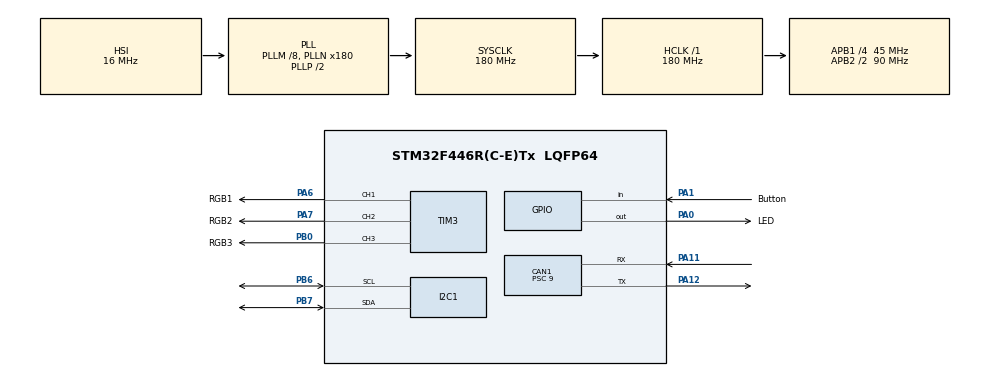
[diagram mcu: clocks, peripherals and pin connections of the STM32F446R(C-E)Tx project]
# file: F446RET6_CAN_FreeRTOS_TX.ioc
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CAN1.BS1=CAN_BS1_2TQ
CAN1.BS2=CAN_BS2_2TQ
CAN1.CalculateBaudRate=1000000
CAN1.CalculateTimeBit=1000
CAN1.CalculateTimeQuantum=200.0
CAN1.Prescaler=9
FREERTOS.Tasks01=IMU_BNO_055,48,512,Task_IMU_BNO_055,Default,NULL,Dynamic,NULL,NULL;RotaryEncoder,49,521,Task_RotaryEncoder,Default,NULL,Dynamic,NULL,NULL;LASER,50,512,Task_Laser,Default,NULL,Dynamic,NULL,NULL
I2C1.I2C_Mode=I2C_Fast
Mcu.Family=STM32F4
Mcu.Name=STM32F446R(C-E)Tx
Mcu.Package=LQFP64
NVIC.CAN1_RX0_IRQn=true\:5\:0\:false\:false\:true\:true\:true\:true\:true
NVIC.PriorityGroup=NVIC_PRIORITYGROUP_4
NVIC.TIM4_IRQn=true\:5\:0\:false\:false\:true\:true\:true\:true\:true
PA0-WKUP.GPIO_Label=LED
PA0-WKUP.Signal=GPIO_Output
PA1.GPIO_Label=Button
PA1.Signal=GPIO_Input
PA11.Mode=CAN_Activate
PA11.Signal=CAN1_RX
PA12.Mode=CAN_Activate
PA12.Signal=CAN1_TX
PA13.Mode=Serial_Wire
PA13.Signal=SYS_JTMS-SWDIO
PA14.Mode=Serial_Wire
PA14.Signal=SYS_JTCK-SWCLK
PA6.GPIO_Label=RGB1
PA6.Signal=S_TIM3_CH1
PA7.GPIO_Label=RGB2
PA7.Signal=S_TIM3_CH2
PB0.GPIO_Label=RGB3
PB0.Signal=S_TIM3_CH3
PB6.Mode=I2C
PB6.Signal=I2C1_SCL
PB7.Mode=I2C
PB7.Signal=I2C1_SDA
PH0-OSC_IN.Mode=HSE-External-Oscillator
PH0-OSC_IN.Signal=RCC_OSC_IN
PH1-OSC_OUT.Mode=HSE-External-Oscillator
PH1-OSC_OUT.Signal=RCC_OSC_OUT
ProjectManager.HeapSize=0x200
ProjectManager.StackSize=0x400
ProjectManager.TargetToolchain=STM32CubeIDE
RCC.AHBFreq_Value=180000000
RCC.APB1CLKDivider=RCC_HCLK_DIV4
RCC.APB1Freq_Value=45000000
RCC.APB1TimFreq_Value=90000000
RCC.APB2CLKDivider=RCC_HCLK_DIV2
RCC.APB2Freq_Value=90000000
RCC.APB2TimFreq_Value=180000000
RCC.CortexFreq_Value=180000000
RCC.HCLKFreq_Value=180000000
RCC.PLLM=8
RCC.PLLN=180
RCC.SYSCLKFreq_VALUE=180000000
RCC.SYSCLKSource=RCC_SYSCLKSOURCE_PLLCLK
RCC.USBFreq_Value=180000000
RCC.VCOOutputFreq_Value=360000000
SH.S_TIM3_CH1.0=TIM3_CH1,PWM Generation1 CH1
SH.S_TIM3_CH2.0=TIM3_CH2,PWM Generation2 CH2
SH.S_TIM3_CH3.0=TIM3_CH3,PWM Generation3 CH3
TIM3.AutoReloadPreload=TIM_AUTORELOAD_PRELOAD_ENABLE
TIM3.Channel-PWM\ Generation1\ CH1=TIM_CHANNEL_1
TIM3.Channel-PWM\ Generation2\ CH2=TIM_CHANNEL_2
TIM3.Channel-PWM\ Generation3\ CH3=TIM_CHANNEL_3
TIM4.AutoReloadPreload=TIM_AUTORELOAD_PRELOAD_ENABLE
TIM4.Period=9999
TIM4.Prescaler=89
VP_FREERTOS_VS_CMSIS_V2.Mode=CMSIS_V2
VP_TIM4_VS_ClockSourceINT.Mode=Internal
board=custom

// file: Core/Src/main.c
/* USER CODE BEGIN Header */
/**
  ******************************************************************************
  * @file           : main.c
  * @brief          : Main program body
  ******************************************************************************
  * @attention
  *
  * Copyright (c) 2024 STMicroelectronics.
  * All rights reserved.
  *
  * This software is licensed under terms that can be found in the LICENSE file
  * in the root directory of this software component.
  * If no LICENSE file comes with this software, it is provided AS-IS.
  *
  ******************************************************************************
  */
/* USER CODE END Header */
#include "main.h"
#include "cmsis_os.h"
#include "can.h"
#include "i2c.h"
#include "tim.h"
#include "gpio.h"

/* USER CODE BEGIN Includes */

//#include "bno055_stm32.h"
//#include "bno055.h"

/* USER CODE END Includes */

/* USER CODE BEGIN PTD */

	/* IMU BNO 055 */

//		/* EULER */
//
//			bno055_vector_t E;
//
//		/* QUATERNION */
//
//			bno055_vector_t Q;

/* USER CODE END PTD */

/* USER CODE BEGIN PV */

			/* CAN */

				CAN_RxHeaderTypeDef RxHeader;
				uint8_t RxData[8];
				CAN_TxHeaderTypeDef TxHeader;
				uint8_t TxData[8];
				uint32_t TxMailbox;
				uint16_t ReadValue;

				int datacheck = 0;
				float pwm_M1 = 0;
				float pwm_M2 = 0;

				float RxData1 = 0;
				float RxData2 = 0;
				float RxData3 = 0;
				float RxData4 = 0;

			/* TAGET SPEED OF RGB */

				float V1 = 0;
				float V2 = 0;
				float V3 = 0;
				float V4 = 0;

			/* V OUT RGB */

				uint16_t V1_out = 0;
				uint16_t V2_out = 0;
				uint16_t V3_out = 0;
				uint16_t V4_out = 0;

				uint8_t flag = 0;
				uint8_t cntt;
				uint8_t cnt;

//			/* EULER */
//
//				uint16_t heading = 0;
//				uint16_t pitch   = 0;
//				uint16_t roll    = 0;
//				uint16_t y =0;
//				uint16_t QuaX = 0;

				extern uint16_t heading;
				extern uint16_t pitch;
				extern uint16_t roll;
				extern uint16_t pitch;
				extern uint16_t QuaX;

/* USER CODE END PV */

void SystemClock_Config(void);
void MX_FREERTOS_Init(void);
/* USER CODE BEGIN PFP */

//	/* MAP */
//
//		float map(float Input, float Min_Input, float Max_Input, float Min_Output, float Max_Output) {
//			return (float) ((Input - Min_Input) * (Max_Output - Min_Output) / (Max_Input - Min_Input) + Min_Output);
//		}

	/* STM32 INTERUPP RECEIVER FROM USB CAN */

		void HAL_CAN_RxFifo0MsgPendingCallback(CAN_HandleTypeDef *hcan) {
			HAL_CAN_GetRxMessage(hcan, CAN_RX_FIFO0, &RxHeader, RxData);
			cntt++;
			while (cntt - 100 > 0) {
				HAL_GPIO_TogglePin(GPIOA, GPIO_PIN_0);
				cntt = 0;
			}

		/* TRANFER TO SPEED */

			/* V RGB */

				V1 = RxData1;
				V2 = RxData2;
				V3 = RxData3;
				V4 = RxData4;

				flag = 1;

		}

/* USER CODE END PFP */

int main(void)
{

  /* MCU Configuration--------------------------------------------------------*/

  /* Reset of all peripherals, Initializes the Flash interface and the Systick. */
  HAL_Init();

  /* Configure the system clock */
  SystemClock_Config();

  /* Initialize all configured peripherals */
  MX_GPIO_Init();
  MX_CAN1_Init();
  MX_TIM3_Init();
  MX_TIM4_Init();
  MX_I2C1_Init();
  /* USER CODE BEGIN 2 */

	/* CAN */

		HAL_CAN_Start(&hcan1);

	/* STRUCTUR TRANSMITTER DATA */

		HAL_CAN_ActivateNotification(&hcan1, CAN_IT_RX_FIFO0_MSG_PENDING);
		TxHeader.DLC = 8;
		TxHeader.IDE = CAN_ID_STD;
		TxHeader.RTR = CAN_RTR_DATA;
		TxHeader.StdId = 0x446; //0b11001010001

	/* TIMER RGB */

		HAL_TIM_Base_Start_IT(&htim4);

		HAL_TIM_PWM_Start(&htim3, TIM_CHANNEL_1);
		HAL_TIM_PWM_Start(&htim3, TIM_CHANNEL_2);
		HAL_TIM_PWM_Start(&htim3, TIM_CHANNEL_3);

	/* MAP TX DATA FROM 8BIT TO 16BIT (RGB) */

//		V1_out = map(V1,0,255,0,65535);
//		V2_out = map(V2,0,255,0,65535);
//		V3_out = map(V3,0,255,0,65535);
//		V4_out = map(V4,0,255,0,65535);

	 /* IMU BNO 055 */

//		bno055_assignI2C(&hi2c1);
//		bno055_setup();
//		bno055_setOperationModeNDOF();

  /* USER CODE END 2 */

  /* Init scheduler */
  osKernelInitialize();

  /* Call init function for freertos objects (in freertos.c) */
  MX_FREERTOS_Init();

  /* Start scheduler */
  osKernelStart();

  /* We should never get here as control is now taken by the scheduler */
  /* Infinite loop */
  while (1)
  {

    /* USER CODE BEGIN 3 */
//	  E	  = bno055_getVectorEuler();
//	  HAL_Delay(5);
//
//	  Q	  = bno055_getVectorEuler();
//	  HAL_Delay(5);

  }
  /* USER CODE END 3 */
}

void SystemClock_Config(void)
{
  RCC_OscInitTypeDef RCC_OscInitStruct = {0};
  RCC_ClkInitTypeDef RCC_ClkInitStruct = {0};

  /** Configure the main internal regulator output voltage
  */
  __HAL_RCC_PWR_CLK_ENABLE();
  __HAL_PWR_VOLTAGESCALING_CONFIG(PWR_REGULATOR_VOLTAGE_SCALE1);

  /** Initializes the RCC Oscillators according to the specified parameters
  * in the RCC_OscInitTypeDef structure.
  */
  RCC_OscInitStruct.OscillatorType = RCC_OSCILLATORTYPE_HSI;
  RCC_OscInitStruct.HSIState = RCC_HSI_ON;
  RCC_OscInitStruct.HSICalibrationValue = RCC_HSICALIBRATION_DEFAULT;
  RCC_OscInitStruct.PLL.PLLState = RCC_PLL_ON;
  RCC_OscInitStruct.PLL.PLLSource = RCC_PLLSOURCE_HSI;
  RCC_OscInitStruct.PLL.PLLM = 8;
  RCC_OscInitStruct.PLL.PLLN = 180;
  RCC_OscInitStruct.PLL.PLLP = RCC_PLLP_DIV2;
  RCC_OscInitStruct.PLL.PLLQ = 2;
  RCC_OscInitStruct.PLL.PLLR = 2;
  if (HAL_RCC_OscConfig(&RCC_OscInitStruct) != HAL_OK)
  {
    Error_Handler();
  }

  /** Activate the Over-Drive mode
  */
  if (HAL_PWREx_EnableOverDrive() != HAL_OK)
  {
    Error_Handler();
  }

  /** Initializes the CPU, AHB and APB buses clocks
  */
  RCC_ClkInitStruct.ClockType = RCC_CLOCKTYPE_HCLK|RCC_CLOCKTYPE_SYSCLK
                              |RCC_CLOCKTYPE_PCLK1|RCC_CLOCKTYPE_PCLK2;
  RCC_ClkInitStruct.SYSCLKSource = RCC_SYSCLKSOURCE_PLLCLK;
  RCC_ClkInitStruct.AHBCLKDivider = RCC_SYSCLK_DIV1;
  RCC_ClkInitStruct.APB1CLKDivider = RCC_HCLK_DIV4;
  RCC_ClkInitStruct.APB2CLKDivider = RCC_HCLK_DIV2;

  if (HAL_RCC_ClockConfig(&RCC_ClkInitStruct, FLASH_LATENCY_5) != HAL_OK)
  {
    Error_Handler();
  }
}

/* USER CODE BEGIN 4 */

/* MAKER TIMER INTERRUPP 1mS */

	void HAL_TIM_PeriodElapsedCallback(TIM_HandleTypeDef *htim) {
		if (htim->Instance == TIM4) {

			TIM3->CCR1 = V1; // PWM BLINK LED
			TIM3->CCR2 = V2; // PWM BLINK LED
			TIM3->CCR3 = V3; // PWM BLINK LED

			/* TX DATA SEND TO PC MAP 16BIT TO 8BIT COZ DATA CAN 1DATA=8BIT */

				/* EULER */

//				 	 E	  = bno055_getVectorEuler();
//
//				 /* QUATERNION */
//
//				 	 Q    = bno055_getVectorQuaternion();

				 /* MAP HEADING (Y) QUATERNION */

//					 if (E.y>0)
//					 {
//						 y = E.y;
//					 }
//					 else if (E.y<0)
//					 {
//						 y = 360-(-1*E.y);
//					 }
//
//				 /* EULER */
//
//					heading = map (E.x, 0, 360, 0, 65535);
//					pitch   = map (E.y, 0, 360, 0, 65535);
//					roll    = map (E.z, 0, 360, 0, 65535);
//
//				/* QUATERNION */
//
//					QuaX    = map (Q.x, 0, 360, 0, 65535);

				/* TxData SEND IMU EULER QUATERNION */

					TxData[0] = ((heading& 0xFF00) >> 8);
					TxData[1] = (heading& 0x00FF);
					TxData[2] = ((pitch& 0xFF00) >> 8);
					TxData[3] = (pitch& 0x00FF);
					TxData[4] = ((roll& 0xFF00) >> 8);
					TxData[5] = (roll& 0x00FF);
					TxData[6] = ((-20& 0xFF00) >> 8);
					TxData[7] = (-20& 0x00FF);

//					TxData[0] = ((V1_out & 0xFF00) >> 8);
//					TxData[1] = (V1_out & 0x00FF);
//					TxData[2] = ((V2_out & 0xFF00) >> 8);
//					TxData[3] = (V2_out & 0x00FF);
//					TxData[4] = ((V3_out & 0xFF00) >> 8);
//					TxData[5] = (V3_out & 0x00FF);
//					TxData[6] = ((V4_out & 0xFF00) >> 8);
//					TxData[7] = (V4_out & 0x00FF);

			if (!(HAL_GPIO_ReadPin(GPIOA, GPIO_PIN_1))) {
				HAL_GPIO_TogglePin(GPIOA, GPIO_PIN_0);
				HAL_CAN_AddTxMessage(&hcan1, &TxHeader, TxData, &TxMailbox);

			}
		}
	}

/* USER CODE END 4 */

void Error_Handler(void)
{
  __disable_irq();
  while (1)
  {
  }
}

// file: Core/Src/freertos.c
/* USER CODE BEGIN Header */
/**
  ******************************************************************************
  * File Name          : freertos.c
  * Description        : Code for freertos applications
  ******************************************************************************
  * @attention
  *
  * Copyright (c) 2024 STMicroelectronics.
  * All rights reserved.
  *
  * This software is licensed under terms that can be found in the LICENSE file
  * in the root directory of this software component.
  * If no LICENSE file comes with this software, it is provided AS-IS.
  *
  ******************************************************************************
  */
/* USER CODE END Header */

#include "FreeRTOS.h"
#include "task.h"
#include "main.h"
#include "cmsis_os.h"

/* USER CODE BEGIN Includes */

#include "bno055_stm32.h"
#include "bno055.h"

/* USER CODE END Includes */

/* USER CODE BEGIN PTD */

	/* IMU BNO 055 */

		/* EULER */

			bno055_vector_t E;

		/* QUATERNION */

			bno055_vector_t Q;

			uint16_t heading = 0;
			uint16_t pitch   = 0;
			uint16_t roll    = 0;
			uint16_t y =0;
			uint16_t QuaX = 0;

/* USER CODE END PTD */

/* Definitions for IMU_BNO_055 */
osThreadId_t IMU_BNO_055Handle;
const osThreadAttr_t IMU_BNO_055_attributes = {
  .name = "IMU_BNO_055",
  .stack_size = 512 * 4,
  .priority = (osPriority_t) osPriorityRealtime,
};
/* Definitions for RotaryEncoder */
osThreadId_t RotaryEncoderHandle;
const osThreadAttr_t RotaryEncoder_attributes = {
  .name = "RotaryEncoder",
  .stack_size = 521 * 4,
  .priority = (osPriority_t) osPriorityRealtime1,
};
/* Definitions for LASER */
osThreadId_t LASERHandle;
const osThreadAttr_t LASER_attributes = {
  .name = "LASER",
  .stack_size = 512 * 4,
  .priority = (osPriority_t) osPriorityRealtime2,
};

/* USER CODE BEGIN FunctionPrototypes */

/* MAP */

	float map(float Input, float Min_Input, float Max_Input, float Min_Output, float Max_Output) {
		return (float) ((Input - Min_Input) * (Max_Output - Min_Output) / (Max_Input - Min_Input) + Min_Output);
	}

/* USER CODE END FunctionPrototypes */

void Task_IMU_BNO_055(void *argument);
void Task_RotaryEncoder(void *argument);
void Task_Laser(void *argument);

void MX_FREERTOS_Init(void); /* (MISRA C 2004 rule 8.1) */

void MX_FREERTOS_Init(void) {

  /* Create the thread(s) */
  /* creation of IMU_BNO_055 */
  IMU_BNO_055Handle = osThreadNew(Task_IMU_BNO_055, NULL, &IMU_BNO_055_attributes);

  /* creation of RotaryEncoder */
  RotaryEncoderHandle = osThreadNew(Task_RotaryEncoder, NULL, &RotaryEncoder_attributes);

  /* creation of LASER */
  LASERHandle = osThreadNew(Task_Laser, NULL, &LASER_attributes);

}

void Task_IMU_BNO_055(void *argument)
{
  /* USER CODE BEGIN Task_IMU_BNO_055 */
  /* Infinite loop */

	/* EULER */

//		uint16_t heading = 0;
//		uint16_t pitch   = 0;
//		uint16_t roll    = 0;
//		uint16_t y =0;
//		uint16_t QuaX = 0;

   	/* IMU BNO 055 */

		  bno055_assignI2C(&hi2c1);
		  bno055_setup();
		  bno055_setOperationModeNDOF();

  for(;;)
  {
	  /* IMU BNO 055 */

			  if (E.y>0)
			  {
				  y = E.y;
			  }
			  else if (E.y<0)
			  {
				  y = 360-(-1*E.y);
			  }

		  /* EULER */

			  heading = map (E.x, 0, 360, 0, 65535);
			  pitch   = map (E.y, 0, 360, 0, 65535);
			  roll    = map (E.z, 0, 360, 0, 65535);

		  /* QUATERNION */

			  QuaX    = map (Q.x, 0, 360, 0, 65535);

		   /* EULER */

			  E	  = bno055_getVectorEuler();
					HAL_Delay(5);

		    /* QUATERNION */

			  Q   = bno055_getVectorQuaternion();
				    HAL_Delay(5);

    osDelay(1);
  }
  /* USER CODE END Task_IMU_BNO_055 */
}

void Task_RotaryEncoder(void *argument)
{
  for(;;)
  {
    osDelay(1);
  }
}

void Task_Laser(void *argument)
{
  for(;;)
  {
    osDelay(1);
  }
}
